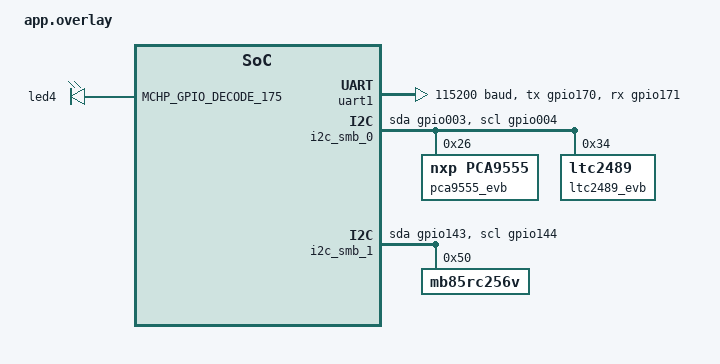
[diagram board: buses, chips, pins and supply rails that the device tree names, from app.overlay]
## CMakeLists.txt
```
# SPDX-License-Identifier: Apache-2.0

cmake_minimum_required(VERSION 3.20.0)

find_package(Zephyr REQUIRED HINTS $ENV{ZEPHYR_BASE})
project(i2c_target)

FILE(GLOB app_sources src/*.c)
target_sources(app PRIVATE ${app_sources})
```

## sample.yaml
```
tests:
  boards.mchp_mec.i2c_target:
    build_only: true
    platform_allow:
      - mec_assy6906_mech1723nsz
      - mec_assy6906_mech1723nlj
      - mec_assy6941_mec1743qlj
      - mec_assy6941_mec1743qsz
      - mec_assy6941_mec1753qlj
      - mec_assy6941_mec1753qsz
    tags: drivers i2c
```

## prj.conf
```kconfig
CONFIG_LOG=y
CONFIG_LOG_MODE_IMMEDIATE=y
#CONFIG_LOG_MODE_MINIMAL=y
#CONFIG_LOG_MODE_DEFERRED=y
#CONFIG_LOG_BUFFER_SIZE=2048
CONFIG_LOG_BACKEND_UART=y
#CONFIG_LOG_BACKEND_SWO=y
#CONFIG_LOG_BACKEND_SWO_REF_FREQ_HZ=96000000
#CONFIG_LOG_BACKEND_SWO_FREQ_HZ=4000000

CONFIG_GPIO=y
CONFIG_PINCTRL=y
CONFIG_LED=y
CONFIG_SERIAL=y
CONFIG_CONSOLE=y
CONFIG_UART_CONSOLE=y
CONFIG_DMA=y
CONFIG_I2C=y
CONFIG_I2C_TARGET=y
CONFIG_I2C_TARGET_BUFFER_MODE=y
# CONFIG_I2C_LOG_LEVEL_DBG=y

CONFIG_PM=n

# PCINV usage fault when I2C-NL driver waits calling k_event_wait
# We need to increase application (main) stack size.
CONFIG_MAIN_STACK_SIZE=2048

# Help debug new code
# CONFIG_DEBUG_COREDUMP=y
# CONFIG_TRAP_UNALIGNED_ACCESS=y
# CONFIG_DEBUG=y
```

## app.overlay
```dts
/*
 * Copyright (c) 2024 Microchip Technology Inc.
 *
 * SPDX-License-Identifier: Apache-2.0
 */

#include <zephyr/dt-bindings/gpio/gpio.h>
#include <zephyr/dt-bindings/gpio/microchip-xec-gpio.h>

/*
 * MEC5_ASSY6941
 * JP7 2-3 GPIO055 pulled-down via 10K to ground.
 * JP23 14-15 selects GPIO055 as SHD_nCS0
 * JP42 1-2 connects 1.8V
 * JP60 2-3 VTR2 is powered by 1.8V
 * NOTE: VTR3 is always 1.8V
 *
 * Boot-ROM GPIO055 as RSMRST#
 * GPIO Control register value = 0x0200
 * Output, push-pull, driver low, no internal pulls,
 * interrupt detection = level low, alternate out enabled.
 * ROM drives pin high(inactive) using alternate out (bit[16] of control register)
 * Control register = 0x10200
 *
 * GPIO175/CMP_VOUT1/PWM8_ALT on schematic, LED4 on silkscreen.
 *
 * I2C00_SDA/SCL = GPIO003/004
 * Install Jumper JP15 4-5 to route GPIO004 as I2C00_SCL/UART2_DCD
 * Install Jumper JP15 7-8 to route GPIO003 as I2C00_SDA/UART2_RI
 * Install Jumper JP27 34-35 to select I2C00_SDA
 * Install Jumper JP27 31-32 to select I2C00_SCL
 * Install Jumper JP70 19-20 7.5K pull-up to VTR1 for I2C00_SDA
 * Install Jumper JP70 21-22 7.5K pull-up to VTR1 for I2C00_SCL
 *
 * U4 is PCA9555 I2C GPIO expander
 * JP52 1-2 use +3.3V_STBY
 * JP61 1-2, 3-4 connect I2C00_SCL and I2C00_SDA to EXTERNAL_SCLK/SDATA
 * JP55 selects I2C address
 * 1-2 = A0, 3-4 = A1, 5-6 = A2 all pull-up by default. Install jumper to ground signals.
 * Installed jumper on JP55 1-2. I2C Address = 0x26
 *
 * U19 is LTC2489 I2C 4-channel delta-sigma ADC
 * Address select pins CA0, CA1 both pulled high. Install jumpers to ground signals.
 * Installed jumpers on JP124 1-2 and 3-4. I2C Address = 0x34
 *
 * Attached Fujitsu MB85RC256V I2C FRAM demo board to 6-pin header J17
 * AdaFruit I2C FRAM breakout board.
 * NOTE: removed demo board 1K pulls on SCL and SDA. Using EVB pulls on SCL/SDA.
 * This device allows testing of larger I2C messages and breaking up large transactions
 * into multiple message buffers.
 * FRAM board power -> J17-5 VTR1 (3.3V)
 * FRAM board GND   -> J17-6 GND
 * FRAM board SCL   -> J17-1 I2C00_SCL
 * FRAM board SDA   -> J17-3 I2C00_SDA
 * FRAM address pins A0, A1, A2 are internally pulled-down.
 * I2C Address = 1010_A2_A1_A0 = 0x50 (default)
 *
 * JP20 3x4 SPI1 signal demux
 *  1-2 GPIO144 I2C04_SCL
 *  4-5 GPIO143 I2C04_SDA
 *
 * JP21 3x16
 *  13-14 GPIO144 I2C04_SCL
 *  25-26 GPIO143 I2C04_SDA
 *
 * pull-ups
 * JP71 25-26 connect 7.5K pull-up to VTR1
 * JP71 27-28 connect 7.5K pull-up to VTR1
 *
 * I2C Port 4 is on VTR1. 1x6 header J17
 * 1 = I2C04_SCL
 * 2, 6 = GND
 * 3 = I2C04_SDA
 * 4 = NC
 * 5 = VTR1
 *
 * I2C Port 0 is on VTR1. 1x6 header J12
 * 1 = I2C00_SCL
 * 2, 6 = GND
 * 3 = I2C00_SDA
 * 4 = NC
 * 5 = VTR1
 *
 * Use I2C00 port on I2C00 device as external Controller
 * Use I2C04 port on I2C01 device as target
 * Add wires:
 * J17-1 to J12-1
 * J17-3 to J12-3
 * Disable pull-ups on I2C00 port:
 * Remove jumpers JP70 19-20 and 21-22
 */

/ {
	chosen {
		zephyr,console = &uart1;
	};

	aliases {
		spi0 = &qspi0;
		led0 = &led4;
		i2c0 = &i2c_smb_0;
		i2c-0 = &i2c_smb_0;
		i2c-nl-0 = &i2c_smb_1;
	};

	leds {
		compatible = "gpio-leds";
		led4: led_0 {
			gpios = <MCHP_GPIO_DECODE_175 GPIO_ACTIVE_HIGH>;
		};
	};

	zephyr,user {
		gpios = <MCHP_GPIO_DECODE_156 GPIO_ACTIVE_HIGH>,
			<MCHP_GPIO_DECODE_157 GPIO_ACTIVE_HIGH>;
	};
};

&dmac {
	compatible = "microchip,mec5-dmac";
	status = "okay";
};

&i2c00_scl_gpio004 {
	drive-open-drain;
	output-enable;
	output-high;
	drive-strength = "4x";
};

&i2c00_sda_gpio003 {
	drive-open-drain;
	output-enable;
	output-high;
	drive-strength = "4x";
};

&i2c04_sda_gpio143 {
	drive-open-drain;
	output-enable;
	output-high;
	drive-strength = "4x";
};

&i2c04_scl_gpio144 {
	drive-open-drain;
	output-enable;
	output-high;
	drive-strength = "4x";
};

&uart1 {
	current-speed = <115200>;
	status = "okay";
	pinctrl-0 = <&uart1_tx_gpio170 &uart1_rx_gpio171>;
	pinctrl-names = "default";
};

&i2c_smb_0 {
	compatible = "microchip,mec5-i2c";
	status = "okay";
	port_sel = < 0 >;
	sda-gpios = < MCHP_GPIO_DECODE_003 0 >;
	scl-gpios = < MCHP_GPIO_DECODE_004 0 >;
	pinctrl-0 = < &i2c00_sda_gpio003 &i2c00_scl_gpio004 >;
	pinctrl-names = "default";

	pca9555_evb: pca9555@26 {
		/* Zephyr will load NXP PCA9555 driver after MEC5 I2C because it calls MEC5 I2C during init */
		compatible = "nxp,pca9555";
		reg = <0x26>;
		gpio-controller;
		#gpio-cells = <2>;
	};

	ltc2489_evb: ltc2489@34 {
		/* No Zephyr driver exists */
		reg = <0x34>;
		#io-channels-cells = <1>;
	};
};

/* Work-around Target mode receive from Host when Host writes enough data to
 * trigger DMA done interrupt. We configure DMA to be at a higher interrupt
 * priority than I2C. Since both are at priority 1, we set I2C-NL to priority
 * 2. ARM NVIC priority numbers are low is higher priority.
 *
 */
&i2c_smb_1 {
	compatible = "microchip,mec5-i2c-nl";
	status = "okay";
	interrupts = <21 2>;
	port_sel = < 4 >;
	sda-gpios = < MCHP_GPIO_DECODE_143 0 >;
	scl-gpios = < MCHP_GPIO_DECODE_144 0 >;
	pinctrl-0 = < &i2c04_sda_gpio143 &i2c04_scl_gpio144 >;
	pinctrl-names = "default";
	dmas = <&dmac 2 0x3>, <&dmac 3 0x2>;
	dma-names = "cm", "tm";

	/* External Fujitsu MB85RC256V 256KB (32K x 8) FRAM */
	mb85rc256v: mb85rc256v@50 {
		/* No Zephyr driver exists */
		reg = <0x50>;
	};
};
```

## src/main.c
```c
/*
 * Copyright (c) 2012-2014 Wind River Systems, Inc.
 * Copyright (c) 2022 Microchip Technology, Inc.
 *
 * SPDX-License-Identifier: Apache-2.0
 */

#include <errno.h>
#include <stdint.h>
#include <string.h>
#include <soc.h>

#include <zephyr/device.h>
#include <zephyr/devicetree.h>
#include <zephyr/kernel.h>
#include <zephyr/drivers/gpio.h>
#include <zephyr/drivers/i2c.h>
#include <zephyr/drivers/led.h>
#include <zephyr/drivers/pinctrl.h>
#include <zephyr/drivers/spi.h>
#include <zephyr/sys/atomic.h>
#include <zephyr/sys/sys_io.h>

#include <zephyr/logging/log_ctrl.h>
#include <zephyr/logging/log.h>
LOG_MODULE_REGISTER(app, CONFIG_LOG_DEFAULT_LEVEL);

#include "test_i2c_target.h"

#define APP_BOARD_HAS_FRAM_ATTACHED

#define I2C_TARGET_NOT_PRESENT_ADDR 0x56
#define I2C_TARGET_MODE_ADDR0 0x40
#define I2C_TARGET_MODE_ADDR1 0x41

/* LTC2489 ADC conversion time using internal clock.
 * If a converstion is in progress LTC2489 will NACK its address.
 */
#define LTC2489_ADC_CONV_TIME_MS 150
#define LTC2489_ADC_READ_RETRIES 10

#define DMAC_NODE	DT_NODELABEL(dmac)
#define I2C0_NODE	DT_ALIAS(i2c0)
#define I2C_NL0_NODE	DT_ALIAS(i2c_nl_0)

#define ZEPHYR_USER_NODE DT_PATH(zephyr_user)

const struct gpio_dt_spec test_pin1_dt =
	GPIO_DT_SPEC_GET_BY_IDX(ZEPHYR_USER_NODE, gpios, 0);

const struct gpio_dt_spec test_pin2_dt =
	GPIO_DT_SPEC_GET_BY_IDX(ZEPHYR_USER_NODE, gpios, 1);

static const struct device *i2c_dev = DEVICE_DT_GET(I2C0_NODE);
static const struct device *i2c_nl_dev = DEVICE_DT_GET(I2C_NL0_NODE);

/* Driver pads the buffer by 4 bytes */
#define I2C_NL_TM_RX_BUF_SIZE (DT_PROP(I2C_NL0_NODE, tm_rx_buf_size) + 8u)

BUILD_ASSERT(I2C_NL_TM_RX_BUF_SIZE >= 4, "I2C-NL0 tm-rx-buf-size property < 4");

/* Access devices on an I2C bus using Device Tree child nodes of the I2C controller */
static const struct i2c_dt_spec pca9555_dts = I2C_DT_SPEC_GET(DT_NODELABEL(pca9555_evb));
static const struct i2c_dt_spec ltc2489_dts = I2C_DT_SPEC_GET(DT_NODELABEL(ltc2489_evb));
#ifdef APP_BOARD_HAS_FRAM_ATTACHED
static const struct i2c_dt_spec mb85rc256v_dts = I2C_DT_SPEC_GET(DT_NODELABEL(mb85rc256v));
#endif

static volatile uint32_t spin_val;
static volatile int ret_val;

static void spin_on(uint32_t id, int rval);
static int config_i2c_device(const struct device *dev, uint32_t i2c_dev_config);

static int test_i2c_fram(const struct i2c_dt_spec *fram_i2c_spec,
			 uint16_t fram_offset, size_t datasz,
			 i2c_callback_t cb, void *userdata,
			 bool async);

static int test_i2c_fram_multi_msg(const struct i2c_dt_spec *fram_i2c_spec,
				   uint16_t fram_offset, size_t datasz,
				   i2c_callback_t cb, void *userdata,
				   bool async);

uint8_t buf1[512];
uint8_t buf2[512];
uint8_t buf3[512];

int main(void)
{
	int ret = 0;
	void (*i2c_cb_fp)(const struct device *, int, void *) = NULL;
	uint32_t i2c_dev_config = 0;
	uint32_t adc_retry_count = 0;
	uint32_t temp = 0;
	uint32_t i2c_nl_wr_len = 0;
	uint32_t i2c_nl_rd_len = 0;
	uint8_t nmsgs = 0;
	uint8_t target_addr = 0;
	struct i2c_msg msgs[4];

	LOG_INF("MEC5 I2C sample: board: %s", DT_N_P_compatible_IDX_0);

	gpio_pin_configure_dt(&test_pin1_dt, GPIO_OUTPUT_HIGH);
	gpio_pin_configure_dt(&test_pin2_dt, GPIO_OUTPUT_HIGH);

	gpio_pin_set_dt(&test_pin1_dt, 1);
	gpio_pin_set_dt(&test_pin2_dt, 1);

	memset(msgs, 0, sizeof(msgs));
	memset(buf1, 0x55, sizeof(buf1));
	memset(buf2, 0x55, sizeof(buf2));

	if (!device_is_ready(i2c_dev)) {
		LOG_ERR("I2C device is not ready!");
		spin_on((uint32_t)__LINE__, -1);
	}

	i2c_dev_config = I2C_SPEED_SET(I2C_SPEED_STANDARD) | I2C_MODE_CONTROLLER;

	ret = config_i2c_device(i2c_dev, i2c_dev_config);
	if (ret) {
		LOG_ERR("I2C configuration error (%d)", ret);
		spin_on((uint32_t)__LINE__, ret);
	}

	ret = i2c_get_config(i2c_dev, &temp);
	if (ret) {
		LOG_ERR("I2C get configuration error (%d)", ret);
		spin_on((uint32_t)__LINE__, ret);
	}

	if (temp != i2c_dev_config) {
		LOG_ERR("I2C configuration does not match: orig(0x%08x) returned(0x%08x)\n",
			i2c_dev_config, temp);
		spin_on((uint32_t)__LINE__, ret);
	}

	/* I2C write to non-existent device: check error return and if
	 * future I2C accesses to a real device work.
	 */
	LOG_INF("Attempt I2C transaction to a non-existent address");
	target_addr = I2C_TARGET_NOT_PRESENT_ADDR;
	nmsgs = 1u;
	buf1[0] = 2u;
	buf1[1] = 0x55u;
	buf1[2] = 0xaa;
	msgs[0].buf = buf1;
	msgs[0].len = 3u;
	msgs[0].flags = I2C_MSG_WRITE | I2C_MSG_STOP;

	ret = i2c_transfer(i2c_dev, msgs, nmsgs, target_addr);
	if (ret != 0) {
		LOG_INF("PASS: Expected API to return an error (%d)", ret);
	} else {
		LOG_ERR("FAIL: I2C API should have returned an error!");
		spin_on((uint32_t)__LINE__, ret);
	}

	for (int i = 0; i < 3; i++) {
		LOG_INF("I2C Write 3 bytes to PCA9555 target device");

		nmsgs = 1u;
		buf1[0] = 2u; /* PCA9555 cmd=2 is output port 0 */
		buf1[1] = 0x55u;
		buf1[2] = 0xaau;
		msgs[0].buf = buf1;
		msgs[0].len = 3u;
		msgs[0].flags = I2C_MSG_WRITE | I2C_MSG_STOP;

		ret = i2c_transfer_dt(&pca9555_dts, msgs, nmsgs);
		if (ret) {
			LOG_ERR("Loop %d: I2C write to PCA9555 error (%d)", i, ret);
			spin_on((uint32_t)__LINE__, ret);
		}
	}

	LOG_INF("Write 3 bytes to PCA9555 target using multiple write buffers");
	nmsgs = 3u;
	buf1[0] = 2u;
	buf1[1] = 0x33u;
	buf1[2] = 0xcc;
	msgs[0].buf = buf1;
	msgs[0].len = 1u;
	msgs[0].flags = I2C_MSG_WRITE;
	msgs[1].buf = &buf1[1];
	msgs[1].len = 1u;
	msgs[1].flags = I2C_MSG_WRITE;
	msgs[2].buf = &buf1[2];
	msgs[2].len = 1u;
	msgs[2].flags = I2C_MSG_WRITE | I2C_MSG_STOP;

	ret = i2c_transfer_dt(&pca9555_dts, msgs, nmsgs);
	if (ret) {
		LOG_ERR("I2C write multiple buffers to PCA9555 error (%d)", ret);
		spin_on((uint32_t)__LINE__, ret);
	}

	LOG_INF("Read both PCA9555 input ports");

	/* PCA9555 read protocol: START TX[wrAddr, cmd],
	 * Rpt-START TX[rdAddr],  RX[data,...], STOP
	 */
	nmsgs = 2u;
	buf1[0] = 0u; /* PCA9555 cmd=0 is input port 0 */
	buf2[0] = 0x55u; /* receive buffer */
	buf2[1] = 0x55u;

	msgs[0].buf = buf1;
	msgs[0].len = 1u;
	msgs[0].flags = I2C_MSG_WRITE;

	msgs[1].buf = buf2;
	msgs[1].len = 2u;
	msgs[1].flags = I2C_MSG_READ | I2C_MSG_STOP;

	ret = i2c_transfer_dt(&pca9555_dts, msgs, nmsgs);
	if (ret) {
		LOG_ERR("I2C transfer error: write cmd byte, read 2 data bytes: (%d)", ret);
		spin_on((uint32_t)__LINE__, ret);
	}

	LOG_INF("PCA9555 Port 0 input = 0x%02x  Port 1 input = 0x%02x", buf2[0], buf2[1]);

	LOG_INF("Read both PCA9555 input ports using different buffers for each port");
	nmsgs = 3u;

	buf1[0] = 0u; /* PCA9555 cmd=0 is input port 0 */
	buf2[0] = 0x55u; /* first receive buffer */
	buf2[1] = 0x55u;
	buf2[8] = 0x55u; /* second receive buffer */
	buf2[9] = 0x55u;

	msgs[0].buf = buf1;
	msgs[0].len = 1u;
	msgs[0].flags = I2C_MSG_WRITE;

	msgs[1].buf = buf2;
	msgs[1].len = 1u;
	msgs[1].flags = I2C_MSG_READ;

	msgs[2].buf = &buf2[8];
	msgs[2].len = 1u;
	msgs[2].flags = I2C_MSG_READ | I2C_MSG_STOP;

	ret = i2c_transfer_dt(&pca9555_dts, msgs, nmsgs);
	if (ret) {
		LOG_ERR("I2C transfer error: 3 messages: (%d)", ret);
		spin_on((uint32_t)__LINE__, ret);
	}

	LOG_INF("PCA9555 Port 0 input = 0x%02x  Port 1 input = 0x%02x", buf2[0], buf2[8]);

	LOG_INF("Select ADC channel 0 in LTC2489. This triggers a conversion!");
	nmsgs = 1;
	buf1[0] = 0xb0u; /* 1011_0000 selects channel 0 as single ended */
	msgs[0].buf = buf1;
	msgs[0].len = 1u;
	msgs[0].flags = I2C_MSG_WRITE | I2C_MSG_STOP;

	ret = i2c_transfer_dt(&ltc2489_dts, msgs, nmsgs);
	if (ret) {
		LOG_ERR("I2C write to set LTC2489 channel failed: (%d)", ret);
		spin_on((uint32_t)__LINE__, ret);
	}

	/* wait for LTC2489 to finish a conversion */
	k_sleep(K_MSEC(LTC2489_ADC_CONV_TIME_MS));

	/* LTC2489 ADC read protocol is I2C read: START TX[rdAddr]
	 * RX[data[7:0], data[15:8], data[23:16]] STOP
	 */
	LOG_INF("Read 24-bit ADC reading from LTC2489");
	adc_retry_count = 0;
	do {
		buf2[0] = 0x55;
		buf2[1] = 0x55;
		buf2[2] = 0x55;

		nmsgs = 1;
		msgs[0].buf = buf2;
		msgs[0].len = 3u;
		msgs[0].flags = I2C_MSG_READ | I2C_MSG_STOP;

		ret = i2c_transfer_dt(&ltc2489_dts, msgs, nmsgs);
		if (ret) {
			adc_retry_count++;
			LOG_INF("LTC2489 read error (%d)", ret);
		}
	} while ((ret != 0) && (adc_retry_count < LTC2489_ADC_READ_RETRIES));

	if (ret == 0) {
		temp = ((uint32_t)(buf2[0]) + (((uint32_t)(buf2[1])) << 8)
				+ (((uint32_t)(buf2[2])) << 16));
		LOG_INF("LTC2489 reading = 0x%08x", temp);
	}

#ifdef APP_BOARD_HAS_FRAM_ATTACHED
	uint16_t fram_addr = 0;
	uint32_t fram_datasz = 32u;

	LOG_INF("Test I2C FRAM");

	if (!device_is_ready(mb85rc256v_dts.bus)) {
		LOG_ERR("FRAM I2C bus not ready!");
		spin_on((uint32_t)__LINE__, ret);
	}

	ret = config_i2c_device(mb85rc256v_dts.bus, i2c_dev_config);
	if (ret) {
		spin_on((uint32_t)__LINE__, ret);
	}

	LOG_INF("Attempt I2C transaction to a non-existent address");
	target_addr = I2C_TARGET_NOT_PRESENT_ADDR;
	nmsgs = 1u;
	buf1[0] = 2u;
	buf1[1] = 0x55u;
	buf1[2] = 0xaa;
	msgs[0].buf = buf1;
	msgs[0].len = 3u;
	msgs[0].flags = I2C_MSG_WRITE | I2C_MSG_STOP;

	ret = i2c_transfer(mb85rc256v_dts.bus, msgs, nmsgs, target_addr);
	if (ret) {
		LOG_INF("API returned error (%d) as expected", ret);
	} else {
		LOG_ERR("Expected an error due to NAK. API returned success");
		spin_on((uint32_t)__LINE__, ret);
	}

	ret = test_i2c_fram(&mb85rc256v_dts, fram_addr, fram_datasz, i2c_cb_fp, NULL, false);
	if (ret) {
		spin_on((uint32_t)__LINE__, ret);
	}

	fram_addr = 0x1234u;
	fram_datasz = 64u;
	ret = test_i2c_fram(&mb85rc256v_dts, fram_addr, fram_datasz, i2c_cb_fp, NULL, false);
	if (ret) {
		spin_on((uint32_t)__LINE__, ret);
	}

	fram_addr = 0x100u;
	fram_datasz = 128u;
	ret = test_i2c_fram(&mb85rc256v_dts, fram_addr, fram_datasz, i2c_cb_fp, NULL, false);
	if (ret) {
		spin_on((uint32_t)__LINE__, ret);
	}

	fram_addr = 0x300u;
	fram_datasz = 512u;
	ret = test_i2c_fram(&mb85rc256v_dts, fram_addr, fram_datasz, i2c_cb_fp, NULL, false);
	if (ret) {
		spin_on((uint32_t)__LINE__, ret);
	}

	ret = test_i2c_fram(&mb85rc256v_dts, fram_addr, fram_datasz, i2c_cb_fp, NULL, false);
	if (ret) {
		spin_on((uint32_t)__LINE__, ret);
	}

	LOG_INF("Test multi-message");
	fram_addr = 0x600u;
	fram_datasz = 16u;
	ret = test_i2c_fram_multi_msg(&mb85rc256v_dts, fram_addr, fram_datasz,
				      i2c_cb_fp, NULL, false);
	if (ret) {
		spin_on((uint32_t)__LINE__, ret);
	}
#endif /* APP_BOARD_HAS_FRAM_ATTACHED */

	ret = test_i2c_target_register(i2c_nl_dev, true, 0);
	if (ret) {
		LOG_ERR("Failed to register target address 0 on device %p: error(%d)",
			mb85rc256v_dts.bus, ret);
		spin_on((uint32_t)__LINE__, ret);
	}

	LOG_INF("Target 0 registered");

	LOG_INF("I2C-NL0 TM RX buffer size is %u bytes", I2C_NL_TM_RX_BUF_SIZE);

	i2c_nl_wr_len = I2C_NL_TM_RX_BUF_SIZE - 5u;
	LOG_INF("Write %u bytes to I2C-NL0 target", i2c_nl_wr_len);

	for (int i = 0; i < i2c_nl_wr_len; i++) {
		buf1[i] = (uint8_t)(i % 256);
	}

	ret = test_i2c_target_write(i2c_dev, mb85rc256v_dts.bus, I2C_TARGET_MODE_ADDR0,
				    buf1, i2c_nl_wr_len);
	if (ret) {
		LOG_ERR("Target write error (%d)", ret);
		spin_on((uint32_t)__LINE__, ret);
	}

	i2c_nl_wr_len = I2C_NL_TM_RX_BUF_SIZE - 4u;
	LOG_INF("Write %u bytes to I2C-NL0 target", i2c_nl_wr_len);

	for (int i = 0; i < i2c_nl_wr_len; i++) {
		buf1[i] = (uint8_t)(i % 256);
	}

	ret = test_i2c_target_write(i2c_dev, mb85rc256v_dts.bus, I2C_TARGET_MODE_ADDR0,
				    buf1, i2c_nl_wr_len);
	if (ret) {
		LOG_ERR("Target write error (%d)", ret);
		spin_on((uint32_t)__LINE__, ret);
	}

#if 0
	i2c_nl_wr_len = I2C_NL_TM_RX_BUF_SIZE - 3u;
	LOG_INF("Write %u bytes to I2C-NL0 target", i2c_nl_wr_len);

	for (int i = 0; i < i2c_nl_wr_len; i++) {
		buf1[i] = (uint8_t)(i % 256);
	}

	ret = test_i2c_target_write(i2c_dev, mb85rc256v_dts.bus, I2C_TARGET_MODE_ADDR0,
				    buf1, i2c_nl_wr_len);
	if (ret) {
		LOG_ERR("Target write error (%d)", ret);
		spin_on((uint32_t)__LINE__, ret);
	}

	i2c_nl_wr_len = I2C_NL_TM_RX_BUF_SIZE - 2u;
	LOG_INF("Write %u bytes to I2C-NL0 target", i2c_nl_wr_len);

	for (int i = 0; i < i2c_nl_wr_len; i++) {
		buf1[i] = (uint8_t)(i % 256);
	}

	ret = test_i2c_target_write(i2c_dev, mb85rc256v_dts.bus, I2C_TARGET_MODE_ADDR0,
				    buf1, i2c_nl_wr_len);
	if (ret) {
		LOG_ERR("Target write error (%d)", ret);
		spin_on((uint32_t)__LINE__, ret);
	}

	i2c_nl_wr_len = I2C_NL_TM_RX_BUF_SIZE - 1u;
	LOG_INF("Write %u bytes to I2C-NL0 target", i2c_nl_wr_len);

	for (int i = 0; i < i2c_nl_wr_len; i++) {
		buf1[i] = (uint8_t)(i % 256);
	}

	ret = test_i2c_target_write(i2c_dev, mb85rc256v_dts.bus, I2C_TARGET_MODE_ADDR0,
				    buf1, i2c_nl_wr_len);
	if (ret) {
		LOG_ERR("Target write error (%d)", ret);
		spin_on((uint32_t)__LINE__, ret);
	}

	i2c_nl_wr_len = I2C_NL_TM_RX_BUF_SIZE;
	LOG_INF("Write %u bytes to I2C-NL0 target", i2c_nl_wr_len);

	for (int i = 0; i < i2c_nl_wr_len; i++) {
		buf1[i] = (uint8_t)(i % 256);
	}

	ret = test_i2c_target_write(i2c_dev, mb85rc256v_dts.bus, I2C_TARGET_MODE_ADDR0,
				    buf1, i2c_nl_wr_len);
	if (ret) {
		LOG_ERR("Target write error (%d)", ret);
		spin_on((uint32_t)__LINE__, ret);
	}

	/* Target Read tests */
	i2c_nl_rd_len = 3u;
	LOG_INF("Target read %u bytes", i2c_nl_rd_len);

	memset(buf1, 0x55, sizeof(buf1));
	memset(buf2, 0xaa, sizeof(buf1));

	buf1[0] = 0x11;
	buf1[1] = 0x12;
	buf1[2] = 0x13;

	test_i2c_target_read_data_init(buf1, i2c_nl_rd_len);

	ret = test_i2c_target_read(i2c_dev, mb85rc256v_dts.bus, I2C_TARGET_MODE_ADDR0,
				   buf2, i2c_nl_rd_len);
	if (ret) {
		LOG_ERR("Target read error (%d)", ret);
		spin_on((uint32_t)__LINE__, ret);
	}

	while (!test_i2c_target_read_done(mb85rc256v_dts.bus, I2C_TARGET_MODE_ADDR0)) {
		;
	}

	LOG_INF("Target read of %u bytes done", i2c_nl_rd_len);

	ret = memcmp(buf1, buf2, i2c_nl_rd_len);
	if (ret == 0) {
		LOG_INF("Target read %u bytes data match: PASS", i2c_nl_rd_len);
	} else {
		LOG_INF("Target read %u bytes data mismatch: FAIL", i2c_nl_rd_len);
	}

	/* read 0xf8(248) bytes */
	i2c_nl_rd_len = 248u;
	LOG_INF("Target read %u bytes", i2c_nl_rd_len);

	memset(buf1, 0x55, sizeof(buf1));
	memset(buf2, 0xaa, sizeof(buf1));

	for (int i = 0; i < i2c_nl_rd_len; i++) {
		buf1[i] = (uint8_t)(i % 256);
	}

	test_i2c_target_read_data_init(buf1, i2c_nl_rd_len);

	ret = test_i2c_target_read(i2c_dev, mb85rc256v_dts.bus, I2C_TARGET_MODE_ADDR0,
				   buf2, i2c_nl_rd_len);
	if (ret) {
		LOG_ERR("Target read error (%d)", ret);
		spin_on((uint32_t)__LINE__, ret);
	}

	while (!test_i2c_target_read_done(mb85rc256v_dts.bus, I2C_TARGET_MODE_ADDR0)) {
		;
	}

	LOG_INF("Target read of %u bytes done", i2c_nl_rd_len);

	ret = memcmp(buf1, buf2, i2c_nl_rd_len);
	if (ret == 0) {
		LOG_INF("Target read %u bytes data match: PASS", i2c_nl_rd_len);
	} else {
		LOG_INF("Target read %u bytes data mismatch: FAIL", i2c_nl_rd_len);
	}

	/* read 501 bytes */
	i2c_nl_rd_len = 501u;
	LOG_INF("Target read %u bytes", i2c_nl_rd_len);

	memset(buf1, 0x55, sizeof(buf1));
	memset(buf2, 0xaa, sizeof(buf1));

	for (int i = 0; i < i2c_nl_rd_len; i++) {
		buf1[i] = (uint8_t)(i % 256);
	}

	test_i2c_target_read_data_init(buf1, i2c_nl_rd_len);

	ret = test_i2c_target_read(i2c_dev, mb85rc256v_dts.bus, I2C_TARGET_MODE_ADDR0,
				   buf2, i2c_nl_rd_len);
	if (ret) {
		LOG_ERR("Target read error (%d)", ret);
		spin_on((uint32_t)__LINE__, ret);
	}

	while (!test_i2c_target_read_done(mb85rc256v_dts.bus, I2C_TARGET_MODE_ADDR0)) {
		;
	}

	LOG_INF("Target read of %u bytes done", i2c_nl_rd_len);

	ret = memcmp(buf1, buf2, i2c_nl_rd_len);
	if (ret == 0) {
		LOG_INF("Target read %u bytes data match: PASS", i2c_nl_rd_len);
	} else {
		LOG_INF("Target read %u bytes data mismatch: FAIL", i2c_nl_rd_len);
	}

	/* read 5 bytes and intentionally do not supply an application buffer: error path in driver */
	i2c_nl_rd_len = 5u;
	LOG_INF("Target read %u bytes", i2c_nl_rd_len);

	memset(buf1, 0x55, sizeof(buf1));
	memset(buf2, 0xaa, sizeof(buf1));

	for (int i = 0; i < i2c_nl_rd_len; i++) {
		buf1[i] = (uint8_t)(i % 256);
	}

	test_i2c_target_read_data_init(NULL, 0);

	ret = test_i2c_target_read(i2c_dev, mb85rc256v_dts.bus, I2C_TARGET_MODE_ADDR0,
				   buf2, i2c_nl_rd_len);
	if (ret) {
		LOG_ERR("Target read error (%d)", ret);
		spin_on((uint32_t)__LINE__, ret);
	}

	while (!test_i2c_target_read_done(mb85rc256v_dts.bus, I2C_TARGET_MODE_ADDR0)) {
		;
	}

	LOG_INF("Target read of %u bytes done", i2c_nl_rd_len);

	ret = memcmp(buf1, buf2, i2c_nl_rd_len);
	if (ret == 0) {
		LOG_INF("Target read %u bytes data match: PASS", i2c_nl_rd_len);
	} else {
		LOG_INF("Target read %u bytes data mismatch: FAIL", i2c_nl_rd_len);
	}
#endif /* 0 */
#if 1
	/* Break the driver: Target START wrAddr wrData1 Rpt-START rdAddr rdData1 */
	i2c_nl_wr_len = 1u;
	i2c_nl_rd_len = 3u;
	LOG_INF("Target I2C Combined write %u bytes, read %u bytes",
		i2c_nl_wr_len, i2c_nl_rd_len);

	memset(buf1, 0x55, sizeof(buf1));
	memset(buf2, 0xaa, sizeof(buf1));
	memset(buf3, 0xbb, sizeof(buf3));

	buf1[0] = 0x11u;
	buf3[0] = 0x31u; /* data from target */
	buf3[1] = 0x32u;
	buf3[2] = 0x33u;

	test_i2c_target_read_data_init(buf3, i2c_nl_rd_len);

	ret = test_i2c_target_combined(i2c_dev, mb85rc256v_dts.bus, I2C_TARGET_MODE_ADDR0,
				       buf1, i2c_nl_wr_len, buf2, i2c_nl_rd_len);
	if (ret) {
		LOG_ERR("Test I2C target combined error (%d)", ret);
		spin_on((uint32_t)__LINE__, ret);
	}

	while (!test_i2c_target_read_done(mb85rc256v_dts.bus, I2C_TARGET_MODE_ADDR0)) {
		;
	}

	LOG_INF("I2C Combined write-read done");
#endif
#if 0
	test_i2c_target_wr_init();

	memset(buf1, 0x55, sizeof(buf1));
	memset(buf2, 0xAA, sizeof(buf2));

	buf1[0] = 0x11;
	buf2[0] = 0x21;
	buf2[1] = 0x22;
	buf2[2] = 0x23;

	msgs[0].buf = buf1;
	msgs[0].len = 1u;
	msgs[0].flags = I2C_MSG_WRITE;
	msgs[1].buf = buf2;
	msgs[1].len = 3u;
	msgs[1].flags = I2C_MSG_WRITE | I2C_MSG_RESTART | I2C_MSG_STOP;

	/* synchronous transfer */
	ret = i2c_transfer(i2c_dev, msgs, 2, I2C_TARGET_MODE_ADDR0);
	if (ret) {
		LOG_ERR("Target I2C combined error (%d)", ret);
	}

#endif

	LOG_INF("Application Done (%d)", ret);
	spin_on((uint32_t)__LINE__, 0);

	return 0;
}

static void spin_on(uint32_t id, int rval)
{
	spin_val = id;
	ret_val = rval;

	log_panic(); /* flush log buffers */

	while (spin_val) {
		;
	}
}

static int config_i2c_device(const struct device *dev, uint32_t i2c_dev_config)
{
	uint32_t temp = 0;
	int ret = 0;

	if (!dev) {
		return -EINVAL;
	}

	ret = i2c_configure(dev, i2c_dev_config);
	if (ret) {
		LOG_ERR("I2C configuration error (%d)", ret);
		return  ret;
	}

	ret = i2c_get_config(dev, &temp);
	if (ret) {
		LOG_ERR("I2C get configuration error (%d)", ret);
		return ret;
	}

	if (temp != i2c_dev_config) {
		ret = -EIO;
		LOG_ERR("I2C configuration does not match: orig(0x%08x) returned(0x%08x)\n",
			i2c_dev_config, temp);
	}

	return ret;
}

#ifdef APP_BOARD_HAS_FRAM_ATTACHED
static int test_i2c_fram(const struct i2c_dt_spec *fram_i2c_spec,
			 uint16_t fram_offset, size_t datasz,
			 i2c_callback_t cb, void *userdata,
			 bool async)
{
	struct i2c_msg msgs[4] = { 0 };
	int ret = 0;
	uint8_t nmsgs = 0;

	if (!fram_i2c_spec) {
		LOG_ERR("I2C FRAM test bad i2c_dt_spec parameter");
		return -EINVAL;
	}

	if (!datasz) {
		LOG_INF("I2C FRAM test data size is 0. Nothing to do");
		return 0;
	}

	if (((uint32_t)fram_offset + datasz) > (32u * 1024u)) {
		LOG_ERR("I2C FRAM test: offset + datasz overflows 32KB FRAM size");
		return -EMSGSIZE;
	}

	if (datasz > sizeof(buf2)) {
		LOG_ERR("I2C FRAM test requested data size exceeds "
			"test buffer size of %u bytes", sizeof(buf2));
		return -EMSGSIZE;
	}

	for (size_t n = 0; n < datasz; n++) {
		buf2[n] = (uint8_t)(n % 256u);
	}

	buf1[0] = (uint8_t)((fram_offset >> 8) & 0xffu); /* address b[15:8] */
	buf1[1] = (uint8_t)((fram_offset) & 0xffu); /* address b[7:0] */

	LOG_INF("MB85RC256V FRAM write %u bytes to offset 0x%x", datasz, fram_offset);

	msgs[0].buf = buf1;
	msgs[0].len = 2u;
	msgs[0].flags = I2C_MSG_WRITE;

	msgs[1].buf = buf2;
	msgs[1].len = datasz;
	msgs[1].flags = I2C_MSG_WRITE | I2C_MSG_STOP;


	nmsgs = 2;
	ret = i2c_transfer_dt(fram_i2c_spec, msgs, nmsgs);
	if (ret) {
		LOG_ERR("I2C API for FRAM write returned error %d", ret);
		return ret;
	}

	/* fill receive buffer with 0x55 */
	memset(buf3, 0x55, sizeof(buf3));

	LOG_INF("MB85RC256V FRAM read %u bytes from offset 0x%x", datasz, fram_offset);

	/* I2C Combined Write FRAM offset and read data */
	msgs[0].buf = buf1;
	msgs[0].len = 2u;
	msgs[0].flags = I2C_MSG_WRITE;

	msgs[1].buf = buf3;
	msgs[1].len = datasz;
	msgs[1].flags = I2C_MSG_READ | I2C_MSG_STOP;

	nmsgs = 2;
	ret = i2c_transfer_dt(fram_i2c_spec, msgs, nmsgs);
	if (ret) {
		LOG_ERR("I2C API for FRAM write-read returned error %d", ret);
		return ret;
	}

	ret = memcmp(buf2, buf3, datasz);
	if (ret == 0) {
		LOG_INF("I2C FRAM Test write data and read back at "
			"offset 0x%0x length %u: PASS", fram_offset, datasz);
	} else {
		LOG_ERR("I2C FRAM Test write data and read back FAIL");
	}

	return ret;
}

/* Trigger driver to parse messages into more than one group */
static int test_i2c_fram_multi_msg(const struct i2c_dt_spec *fram_i2c_spec,
				   uint16_t fram_offset, size_t datasz,
				   i2c_callback_t cb, void *userdata,
				   bool async)
{
	struct i2c_msg msgs[4] = { 0 };
	int ret = 0;
	uint8_t nmsgs = 0;

	if (!fram_i2c_spec) {
		LOG_ERR("I2C FRAM test bad i2c_dt_spec parameter");
		return -EINVAL;
	}

	if (!datasz) {
		LOG_INF("I2C FRAM test data size is 0. Nothing to do");
		return 0;
	}

	if (((uint32_t)fram_offset + datasz) > (32u * 1024u)) {
		LOG_ERR("I2C FRAM test: offset + datasz overflows 32KB FRAM size");
		return -EMSGSIZE;
	}

	if (datasz > sizeof(buf2)) {
		LOG_ERR("I2C FRAM test requested data size exceeds "
			"test buffer size of %u bytes", sizeof(buf2));
		return -EMSGSIZE;
	}

	/* fill receive buffer with 0x55 */
	memset(buf2, 0x55, sizeof(buf2));
	memset(buf3, 0x55, sizeof(buf3));

	for (size_t n = 0; n < datasz; n++) {
		buf2[n] = (uint8_t)(n % 256u);
	}

	buf1[0] = (uint8_t)((fram_offset >> 8) & 0xffu); /* address b[15:8] */
	buf1[1] = (uint8_t)((fram_offset) & 0xffu); /* address b[7:0] */

	LOG_INF("MB85RC256V FRAM write %u bytes to offset 0x%x and read back", datasz, fram_offset);

	msgs[0].buf = buf1;
	msgs[0].len = 2u;
	msgs[0].flags = I2C_MSG_WRITE;

	msgs[1].buf = buf2;
	msgs[1].len = datasz;
	msgs[1].flags = I2C_MSG_WRITE | I2C_MSG_STOP;

	msgs[2].buf = buf1;
	msgs[2].len = 2u;
	msgs[2].flags = I2C_MSG_WRITE;

	msgs[3].buf = buf3;
	msgs[3].len = datasz;
	msgs[3].flags = I2C_MSG_READ | I2C_MSG_STOP;

	nmsgs = 4;
	ret = i2c_transfer_dt(fram_i2c_spec, msgs, nmsgs);
	if (ret) {
		LOG_ERR("I2C API passed multi-messages returned error %d", ret);
		return ret;
	}

	ret = memcmp(buf2, buf3, datasz);
	if (ret == 0) {
		LOG_INF("I2C FRAM Test write data and read back at "
			"offset 0x%0x length %u: PASS", fram_offset, datasz);
	} else {
		LOG_ERR("I2C FRAM Test write data and read back FAIL");
	}

	return ret;
}
#endif /* APP_BOARD_HAS_FRAM_ATTACHED */
```

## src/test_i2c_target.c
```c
/*
 * Copyright (c) 2024 Microchip Technology, Inc.
 *
 * SPDX-License-Identifier: Apache-2.0
 */

#include <errno.h>
#include <stdbool.h>
#include <stdint.h>
#include <string.h>
#include <soc.h>

#include <zephyr/device.h>
#include <zephyr/devicetree.h>
#include <zephyr/kernel.h>
#include <zephyr/drivers/i2c.h>
#include <zephyr/logging/log.h>
#include <zephyr/sys/atomic.h>
#include <zephyr/sys/sys_io.h>

#include <zephyr/logging/log_ctrl.h>
#include <zephyr/logging/log.h>
LOG_MODULE_DECLARE(app);

#include "test_i2c_target.h"

#define TEST_I2C_TARGET_DBG_MSGS

static int i2c_target0_wr_req_cb(struct i2c_target_config *config);
static int i2c_target0_wr_rcvd_cb(struct i2c_target_config *config, uint8_t val);

static int i2c_target0_rd_req_cb(struct i2c_target_config *config, uint8_t *val);
static int i2c_target0_rd_proc_cb(struct i2c_target_config *config, uint8_t *val);

static int i2c_target0_stop_cb(struct i2c_target_config *config);

#ifdef CONFIG_I2C_TARGET_BUFFER_MODE
static void i2c_target0_buf_wr_rcvd_cb(struct i2c_target_config *config, uint8_t *ptr,
				       uint32_t len);
static int i2c_target0_buf_rd_req_cb(struct i2c_target_config *config, uint8_t **ptr,
				     uint32_t *len);
#endif

#ifdef I2C_TARGET_USE_BOTH_TARGETS
static int i2c_target1_wr_req_cb(struct i2c_target_config *config);
static int i2c_target1_wr_rcvd_cb(struct i2c_target_config *config, uint8_t val);

static int i2c_target1_rd_req_cb(struct i2c_target_config *config, uint8_t *val);
static int i2c_target1_rd_proc_cb(struct i2c_target_config *config, uint8_t *val);

static int i2c_target1_stop_cb(struct i2c_target_config *config);

#ifdef CONFIG_I2C_TARGET_BUFFER_MODE
static void i2c_target1_buf_wr_rcvd_cb(struct i2c_target_config *config, uint8_t *ptr,
				       uint32_t len);
static int i2c_target1_buf_rd_req_cb(struct i2c_target_config *config, uint8_t **ptr,
				     uint32_t *len);
#endif
#endif

const struct i2c_target_callbacks i2c_target0_cb = {
	.write_requested = i2c_target0_wr_req_cb,
	.read_requested = i2c_target0_rd_req_cb,
	.write_received = i2c_target0_wr_rcvd_cb,
	.read_processed = i2c_target0_rd_proc_cb,
#ifdef CONFIG_I2C_TARGET_BUFFER_MODE
	.buf_write_received = i2c_target0_buf_wr_rcvd_cb,
	.buf_read_requested = i2c_target0_buf_rd_req_cb,
#endif
	.stop = i2c_target0_stop_cb,
};

#ifdef I2C_TARGET_USE_BOTH_TARGETS
const struct i2c_target_callbacks i2c_target1_cb = {
	.write_requested = i2c_target1_wr_req_cb,
	.read_requested = i2c_target1_rd_req_cb,
	.write_received = i2c_target1_wr_rcvd_cb,
	.read_processed = i2c_target1_rd_proc_cb,
#ifdef CONFIG_I2C_TARGET_BUFFER_MODE
	.buf_write_received = i2c_target1_buf_wr_rcvd_cb,
	.buf_read_requested = i2c_target1_buf_rd_req_cb,
#endif
	.stop = i2c_target1_stop_cb,
};
#endif

struct i2c_target_config i2c_target0 = {
	.flags = 0,
	.address = I2C_TARGET_MODE_ADDR0,
	.callbacks = &i2c_target0_cb,
};

#ifdef I2C_TARGET_USE_BOTH_TARGETS
struct i2c_target_config i2c_target1 = {
	.flags = 0,
	.address = I2C_TARGET_MODE_ADDR1,
	.callbacks = &i2c_target1_cb,
}
#endif

atomic_t target0_read_done = ATOMIC_INIT(0);
#ifdef I2C_TARGET_USE_BOTH_TARGETS
atomic_t target1_read_done = ATOMIC_INIT(0);
#endif

bool target_write_recv_cb;
size_t target_test_wr_len;
size_t target_test_wr_rx_len;

bool target_read_req_cb;
size_t target_test_rd_len;
size_t target_test_rd_tx_len;
uint8_t *tm_targ_read_ptr;

bool target0_stop_cb;

#define TM_TX_BUF_SIZE 256
uint8_t tm_tx_buf[TM_TX_BUF_SIZE];

#define TM_RX_BUF_SIZE 256
uint8_t *tm_rx_buf_ptr;
uint8_t tm_rx_buf[TM_RX_BUF_SIZE];

int i2c_test_get_tm_rx_buf(uint8_t **tmbuf, uint32_t *bufsz)
{
	if (!tmbuf || !bufsz) {
		return -EINVAL;
	}

	*tmbuf = tm_rx_buf;
	*bufsz = TM_RX_BUF_SIZE;

	return 0;
}

static int i2c_target0_wr_req_cb(struct i2c_target_config *config)
{
	return 0;
}

static int i2c_target0_wr_rcvd_cb(struct i2c_target_config *config, uint8_t val)
{
	return 0;
}

static int i2c_target0_rd_req_cb(struct i2c_target_config *config, uint8_t *val)
{
	return 0;
}

static int i2c_target0_rd_proc_cb(struct i2c_target_config *config, uint8_t *val)
{
	return 0;
}

static int i2c_target0_stop_cb(struct i2c_target_config *config)
{
	target0_stop_cb = true;

#ifdef TEST_I2C_TARGET_DBG_MSGS
	LOG_INF("TM CB STOP");
#endif
	atomic_set(&target0_read_done, 1);

	return 0;
}

#ifdef CONFIG_I2C_TARGET_BUFFER_MODE
static void i2c_target0_buf_wr_rcvd_cb(struct i2c_target_config *config, uint8_t *ptr,
				       uint32_t len)
{
	target_write_recv_cb = true;

	if (!config || !ptr || !len) {
		return;
	}

	target_test_wr_rx_len = len;

#ifdef TEST_I2C_TARGET_DBG_MSGS
	LOG_INF("TM CB Write received: cfg=%p buf=%p len=%u", config, ptr, len);
#endif

	if (ptr && len) {
		if ((uint32_t)(tm_rx_buf_ptr - tm_rx_buf) < len) {
			memcpy(tm_rx_buf_ptr, ptr, len);
			tm_rx_buf_ptr += len;
		}
	}
}

static int i2c_target0_buf_rd_req_cb(struct i2c_target_config *config, uint8_t **ptr,
				     uint32_t *len)
{
	int ret = 0;

	target_read_req_cb = true;

	if (!config || !ptr || !len) {
		return -EINVAL;
	}

#ifdef TEST_I2C_TARGET_DBG_MSGS
	LOG_INF("TM CB Read request: buf=%p len=%u", tm_targ_read_ptr, target_test_rd_len);
#endif
	if (tm_targ_read_ptr && target_test_rd_len) {
		*ptr = tm_targ_read_ptr;
		*len = target_test_rd_len;
	} else {
		ret = -ENOBUFS;
	}

	return ret;
}
#endif


static struct i2c_target_config *get_target_config(uint8_t target_id)
{
	switch (target_id) {
	case 0:
		return &i2c_target0;
#ifdef I2C_TARGET_USE_BOTH_TARGETS
	case 1:
		return &i2c_target1;
#endif
	default:
		return NULL;
	}
}

int test_i2c_target_wr_init(void)
{
	target0_stop_cb = false;
	target_write_recv_cb = false;
	target_test_wr_rx_len = 0;
	tm_rx_buf_ptr = tm_rx_buf;
	memset(tm_tx_buf, 0x55, TM_TX_BUF_SIZE);
	memset(tm_rx_buf, 0x55, TM_RX_BUF_SIZE);
	return 0;
}

/* TODO caller is passing i2c_nl_dev which is I2C_SMB Controller 1 on Port 4
 * Board is now wired for Port 4 <-> Port 5
 */
int test_i2c_target_register(const struct device *i2c_dev, bool register_target,
			     uint8_t target_id)
{
	struct i2c_target_config *tcfg = get_target_config(target_id);
	int ret = 0;

	if (!i2c_dev || !tcfg) {
		return -EINVAL;
	}

	if (register_target) {
		ret = i2c_target_register(i2c_dev, tcfg);
		if (ret) {
			return ret;
		}
	} else {
		ret = i2c_target_unregister(i2c_dev, tcfg);
		if (ret) {
			return ret;
		}
	}

	return 0;
}

/* TODO caller is passing i2c_nl_dev which is I2C_SMB Controller 1 on Port 4
 * Board is now wired for Port 4 <-> Port 5
 * Use Port 4 device as Target same as before
 * Use Port 5 device as Controller (was Port 0 device before)
 */
int test_i2c_target_write(const struct device *i2c_cm_dev, const struct device *i2c_tm_dev,
			  uint16_t tm_addr, uint8_t *data, size_t datasz)
{
	struct i2c_msg msg = {0};
	int ret = 0;

	LOG_INF("Target Write: %u bytes to I2C address 0x%0x", datasz, tm_addr);

	test_i2c_target_wr_init();

	msg.buf = data;
	msg.len = datasz;
	msg.flags = I2C_MSG_WRITE | I2C_MSG_STOP;

	target_test_wr_len = datasz;

	/* synchronous transfer */
	ret = i2c_transfer(i2c_cm_dev, &msg, 1, tm_addr);
	if (ret) {
		LOG_ERR("Target write error (%d)", ret);
		return ret;
	}

	if (target_test_wr_rx_len != datasz) {
		LOG_INF("Target captured only %u bytes of %u from External Controller",
			target_test_wr_rx_len, datasz);
	} else if (target_test_wr_rx_len && datasz) {
		ret = memcmp(tm_rx_buf, data, target_test_wr_rx_len);
		if (ret) {
			ret = -EILSEQ;
			LOG_ERR("Target write data != send data");
		} else {
			LOG_INF("Target captured bytes match: PASS");
		}
	}

	return ret;
}

int test_i2c_target_read_data_init(uint8_t *data, size_t datasz)
{
	target0_stop_cb = false;
	target0_read_done = ATOMIC_INIT(0);
	tm_targ_read_ptr = data;
	target_test_rd_len = datasz;
	target_read_req_cb = false;

	return 0;
}

int test_i2c_target_read(const struct device *i2c_cm_dev, const struct device *i2c_tm_dev,
			 uint16_t tm_addr, uint8_t *data, size_t datasz)
{
	struct i2c_msg msgs[2] = {0};
	int ret = 0;

	msgs[0].buf = data;
	msgs[0].len = datasz;
	msgs[0].flags = I2C_MSG_READ | I2C_MSG_STOP;

	/* synchronous transfer */
	ret = i2c_transfer(i2c_cm_dev, msgs, 1, tm_addr);

	return ret;
}

bool test_i2c_target_read_done(const struct device *i2c_tm_dev, uint16_t tm_addr)
{
	if (atomic_get(&target0_read_done) != 0) {
		return true;
	}

	return false;
}

int test_i2c_target_combined(const struct device *i2c_cm_dev, const struct device *i2c_tm_dev,
			     uint16_t tm_addr, uint8_t *wdata, size_t wrsz,
			     uint8_t *rdata, size_t rdsz)
{
	struct i2c_msg msgs[2] = {0};
	int ret = 0;

	LOG_INF("Target Combined I2C address 0x%0x: write %u bytes, read %u bytes", tm_addr, wrsz, rdsz);

	test_i2c_target_wr_init();

	target_test_wr_len = wrsz;

	msgs[0].buf = wdata;
	msgs[0].len = wrsz;
	msgs[0].flags = I2C_MSG_WRITE;
	msgs[1].buf = rdata;
	msgs[1].len = rdsz;
	msgs[1].flags = I2C_MSG_READ | I2C_MSG_RESTART | I2C_MSG_STOP;

	/* synchronous transfer */
	ret = i2c_transfer(i2c_cm_dev, msgs, 2, tm_addr);
	if (ret) {
		LOG_ERR("Target I2C combined error (%d)", ret);
	}

	return ret;
}

int test_i2c_target_combined_wr_wr(const struct device *i2c_cm_dev, const struct device *i2c_tm_dev,
				   uint16_t tm_addr, uint8_t *wdata, size_t wrsz,
				   uint8_t *rdata, size_t rdsz)
{
	struct i2c_msg msgs[2] = {0};
	int ret = 0;

	LOG_INF("Target Combined I2C address 0x%0x: write %u bytes, read %u bytes", tm_addr, wrsz, rdsz);

	test_i2c_target_wr_init();

	target_test_wr_len = wrsz;

	msgs[0].buf = wdata;
	msgs[0].len = wrsz;
	msgs[0].flags = I2C_MSG_WRITE;
	msgs[1].buf = rdata;
	msgs[1].len = rdsz;
	msgs[1].flags = I2C_MSG_READ | I2C_MSG_RESTART | I2C_MSG_STOP;

	/* synchronous transfer */
	ret = i2c_transfer(i2c_cm_dev, msgs, 2, tm_addr);
	if (ret) {
		LOG_ERR("Target I2C combined error (%d)", ret);
	}

	return ret;
}
```

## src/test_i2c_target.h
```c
/*
 * Copyright (c) 2024 Microchip Technology, Inc.
 *
 * SPDX-License-Identifier: Apache-2.0
 */

#ifndef TEST_I2C_TARGET
#define TEST_I2C_TARGET

#include <errno.h>
#include <stdbool.h>
#include <stdint.h>

#include <zephyr/device.h>

#define I2C_TARGET_MODE_ADDR0 0x40
#define I2C_TARGET_MODE_ADDR1 0x41
/* #define I2C_TARGET_USE_BOTH_TARGETS */

int test_i2c_target_register(const struct device *i2c_dev, bool register_target,
			     uint8_t target_id);

int test_i2c_target_wr_init(void);

int test_i2c_target_write(const struct device *i2c_cm_dev, const struct device *i2c_tm_dev,
			  uint16_t tm_addr, uint8_t *data, size_t datasz);

int test_i2c_target_read_data_init(uint8_t *data, size_t datasz);
int test_i2c_target_read(const struct device *i2c_cm_dev, const struct device *i2c_tm_dev,
			 uint16_t tm_addr, uint8_t *data, size_t datasz);
bool test_i2c_target_read_done(const struct device *i2c_tm_dev, uint16_t tm_addr);

int test_i2c_target_combined(const struct device *i2c_cm_dev, const struct device *i2c_tm_dev,
			     uint16_t tm_addr, uint8_t *wdata, size_t wrsz,
			     uint8_t *rdata, size_t rdsz);

int i2c_test_get_tm_rx_buf(uint8_t **tmbuf, uint32_t *bufsz);

#endif /* TEST_I2C_TARGET */
```
